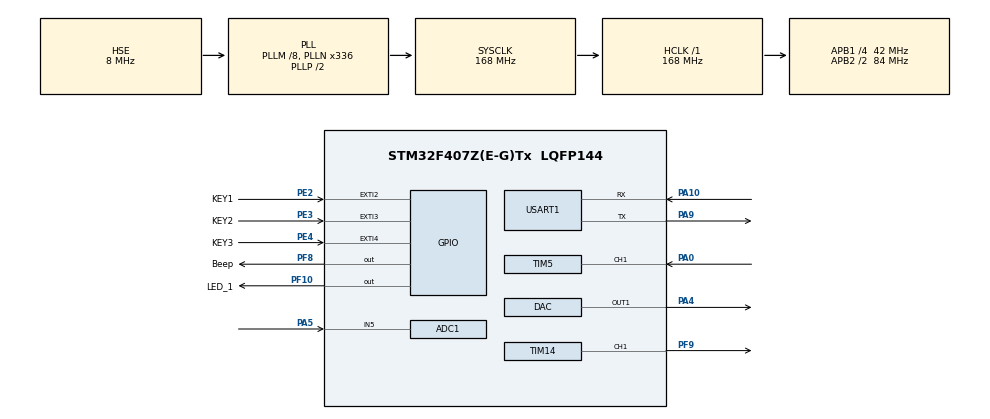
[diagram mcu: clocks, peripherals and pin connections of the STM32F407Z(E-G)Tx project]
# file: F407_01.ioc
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ADC1.Channel-0\#ChannelRegularConversion=ADC_CHANNEL_5
ADC1.ContinuousConvMode=DISABLE
ADC1.DMAContinuousRequests=ENABLE
ADC1.ExternalTrigConv=ADC_EXTERNALTRIGCONV_T3_TRGO
ADC1.NbrOfConversionFlag=1
ADC1.Rank-0\#ChannelRegularConversion=1
ADC1.SamplingTime-0\#ChannelRegularConversion=ADC_SAMPLETIME_480CYCLES
ADC1.master=1
DAC.DAC_Trigger=DAC_TRIGGER_T7_TRGO
Dma.ADC1.0.Direction=DMA_PERIPH_TO_MEMORY
Dma.ADC1.0.FIFOMode=DMA_FIFOMODE_DISABLE
Dma.ADC1.0.Instance=DMA2_Stream0
Dma.ADC1.0.MemDataAlignment=DMA_MDATAALIGN_HALFWORD
Dma.ADC1.0.MemInc=DMA_MINC_ENABLE
Dma.ADC1.0.Mode=DMA_CIRCULAR
Dma.ADC1.0.PeriphDataAlignment=DMA_PDATAALIGN_HALFWORD
Dma.ADC1.0.PeriphInc=DMA_PINC_DISABLE
Dma.ADC1.0.Priority=DMA_PRIORITY_LOW
Dma.DAC1.1.Direction=DMA_MEMORY_TO_PERIPH
Dma.DAC1.1.FIFOMode=DMA_FIFOMODE_DISABLE
Dma.DAC1.1.Instance=DMA1_Stream5
Dma.DAC1.1.MemDataAlignment=DMA_MDATAALIGN_HALFWORD
Dma.DAC1.1.MemInc=DMA_MINC_ENABLE
Dma.DAC1.1.Mode=DMA_CIRCULAR
Dma.DAC1.1.PeriphDataAlignment=DMA_PDATAALIGN_HALFWORD
Dma.DAC1.1.PeriphInc=DMA_PINC_DISABLE
Dma.DAC1.1.Priority=DMA_PRIORITY_LOW
Dma.Request0=ADC1
Dma.Request1=DAC1
Mcu.Family=STM32F4
Mcu.Name=STM32F407Z(E-G)Tx
Mcu.Package=LQFP144
NVIC.DMA1_Stream5_IRQn=true\:2\:0\:true\:false\:true\:false\:true\:true
NVIC.DMA2_Stream0_IRQn=true\:2\:0\:true\:false\:true\:false\:true\:true
NVIC.PriorityGroup=NVIC_PRIORITYGROUP_4
NVIC.TIM5_IRQn=true\:3\:0\:true\:false\:true\:true\:true\:true
NVIC.USART1_IRQn=true\:2\:0\:true\:false\:true\:true\:true\:true
PA0-WKUP.Signal=S_TIM5_CH1
PA10.Mode=Asynchronous
PA10.Signal=USART1_RX
PA13.Mode=Serial_Wire
PA13.Signal=SYS_JTMS-SWDIO
PA14.Mode=Serial_Wire
PA14.Signal=SYS_JTCK-SWCLK
PA4.Signal=COMP_DAC1_group
PA5.Signal=ADCx_IN5
PA9.Mode=Asynchronous
PA9.Signal=USART1_TX
PC14-OSC32_IN.Mode=LSE-External-Oscillator
PC14-OSC32_IN.Signal=RCC_OSC32_IN
PC15-OSC32_OUT.Mode=LSE-External-Oscillator
PC15-OSC32_OUT.Signal=RCC_OSC32_OUT
PE2.GPIO_Label=KEY1
PE2.Signal=GPXTI2
PE3.GPIO_Label=KEY2
PE3.Signal=GPXTI3
PE4.GPIO_Label=KEY3
PE4.Signal=GPXTI4
PF10.GPIO_Label=LED_1
PF10.GPIO_PuPd=GPIO_PULLUP
PF10.PinState=GPIO_PIN_SET
PF10.Signal=GPIO_Output
PF8.GPIO_Label=Beep
PF8.Signal=GPIO_Output
PF9.Signal=S_TIM14_CH1
PH0-OSC_IN.Mode=HSE-External-Oscillator
PH0-OSC_IN.Signal=RCC_OSC_IN
PH1-OSC_OUT.Mode=HSE-External-Oscillator
PH1-OSC_OUT.Signal=RCC_OSC_OUT
ProjectManager.HeapSize=0x200
ProjectManager.StackSize=0x400
ProjectManager.TargetToolchain=MDK-ARM V5.32
RCC.48MHZClocksFreq_Value=84000000
RCC.AHBFreq_Value=168000000
RCC.APB1CLKDivider=RCC_HCLK_DIV4
RCC.APB1Freq_Value=42000000
RCC.APB1TimFreq_Value=84000000
RCC.APB2CLKDivider=RCC_HCLK_DIV2
RCC.APB2Freq_Value=84000000
RCC.APB2TimFreq_Value=168000000
RCC.CortexFreq_Value=168000000
RCC.HCLKFreq_Value=168000000
RCC.HSE_VALUE=8000000
RCC.HSI_VALUE=16000000
RCC.PLLM=8
RCC.PLLN=336
RCC.PLLSourceVirtual=RCC_PLLSOURCE_HSE
RCC.SYSCLKFreq_VALUE=168000000
RCC.SYSCLKSource=RCC_SYSCLKSOURCE_PLLCLK
RCC.VCOOutputFreq_Value=336000000
SH.ADCx_IN5.0=ADC1_IN5,IN5
SH.COMP_DAC1_group.0=DAC_OUT1,DAC_OUT1
SH.S_TIM14_CH1.0=TIM14_CH1,PWM Generation1 CH1
SH.S_TIM5_CH1.0=TIM5_CH1,Input_Capture1_from_TI1
TIM14.Channel=TIM_CHANNEL_1
TIM14.Period=500-1
TIM14.Prescaler=83
TIM3.Period=9
TIM3.Prescaler=83
TIM3.TIM_MasterOutputTrigger=TIM_TRGO_UPDATE
TIM3.TIM_MasterSlaveMode=TIM_MASTERSLAVEMODE_ENABLE
TIM5.Channel-Input_Capture1_from_TI1=TIM_CHANNEL_1
TIM7.Period=9
TIM7.Prescaler=83
TIM7.TIM_MasterOutputTrigger=TIM_TRGO_UPDATE
USART1.VirtualMode=VM_ASYNC
VP_TIM14_VS_ClockSourceINT.Mode=Enable_Timer
VP_TIM3_VS_ClockSourceINT.Mode=Internal
VP_TIM5_VS_ClockSourceINT.Mode=Internal
VP_TIM7_VS_ClockSourceINT.Mode=Enable_Timer
board=custom

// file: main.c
/* USER CODE BEGIN Header */
/**
  ******************************************************************************
  * @file           : main.c
  * @brief          : Main program body
  ******************************************************************************
  * @attention
  *
  * Copyright (c) 2026 STMicroelectronics.
  * All rights reserved.
  *
  * This software is licensed under terms that can be found in the LICENSE file
  * in the root directory of this software component.
  * If no LICENSE file comes with this software, it is provided AS-IS.
  *
  ******************************************************************************
  */
/* USER CODE END Header */
#include "main.h"
#include "adc.h"
#include "dac.h"
#include "dma.h"
#include "tim.h"
#include "usart.h"
#include "gpio.h"

/* USER CODE BEGIN Includes */
#include "stdio.h"
#include "LCD/lcd.h"
#include "LCD/bmp.h"
#include "math.h"

#include "arm_math.h"//fft相关文件
#include "arm_const_structs.h"
void delay_init(uint8_t SYSCLK);
#define LCD_W      320    // 屏幕宽度
#define LCD_H      240    // 屏幕高度
#define FFT_LEN    1024   // FFT点数
#define SHOW_POINT 256    // 屏幕显示256个频谱点（不卡顿）
/* USER CODE END Includes */

void SystemClock_Config(void);

/* USER CODE BEGIN 0 */
uint8_t capture_Buf[2];
uint8_t adc_complete_flag = 0;
float adc_value = 0;
uint8_t capture_Flag = 0;
uint32_t high_level_time = 0;
 uint8_t RxBuffer[1];

#define FFT_LENGTH 1024

__IO uint8_t AdcConvEnd = 0;
uint16_t adcBuff[FFT_LENGTH];

float fft_inputbuf[FFT_LENGTH * 2];
float fft_outputbuf[FFT_LENGTH];

void LCD_Show_FFT(float *fft_data);
void LCD_Show_ADC_Wave(uint16_t *adc_data);

void zhang_tim5(void);
void zhang_pwm_control(void);
uint16_t signalSinBuffer[100];
uint16_t signalSquareBuffer[100];
uint16_t signalRampBuffer[100];

// 正弦波信号缓存填充
void signalSin ()
{
    for (int i=0; i<100; i++)
    {
        signalSinBuffer[i] = ((sin(i*2*PI/100) + 1)*(4096/2));
     //   printf(" signalSinBuffer==%d",signalSinBuffer[i]);
    }
}
/* USER CODE END 0 */

int main(void)
{

  /* MCU Configuration--------------------------------------------------------*/

  /* Reset of all peripherals, Initializes the Flash interface and the Systick. */
  HAL_Init();

  /* Configure the system clock */
  SystemClock_Config();

  /* USER CODE BEGIN SysInit */
   delay_init(168);
  /* USER CODE END SysInit */

  /* Initialize all configured peripherals */
  MX_GPIO_Init();
  MX_DMA_Init();
  MX_TIM14_Init();
  MX_TIM5_Init();
  MX_USART1_UART_Init();
  MX_ADC1_Init();
  MX_TIM3_Init();
  MX_DAC_Init();
  MX_TIM7_Init();
  /* USER CODE BEGIN 2 */
  HAL_TIM_PWM_Start(&htim14, TIM_CHANNEL_1);//led0����
  HAL_UART_Receive_IT(&huart1,RxBuffer,1);
  HAL_TIM_IC_Start_IT(&htim5, TIM_CHANNEL_1);

  __HAL_TIM_SET_AUTORELOAD(&htim3, 99);
  HAL_TIM_Base_Start(&htim3);
  HAL_ADC_Start_DMA(&hadc1,(uint32_t*)adcBuff,FFT_LENGTH);

  __HAL_TIM_SET_AUTORELOAD(&htim7, 199);
  HAL_TIM_Base_Start(&htim7);
  signalSin();
  HAL_DAC_Start_DMA(&hdac,DAC_CHANNEL_1,(uint32_t*)signalSinBuffer,100,DAC_ALIGN_12B_R);

 // HAL_DAC_SetValue(&hdac,DAC_CHANNEL_1,DAC_ALIGN_12B_R,1.8/(3.3/4096));

//
    lcd_init();                             /* 初始化LCD */
    g_point_color = RED;
    lcd_clear(WHITE);
      lcd_show_string(10, 80, 240, 24, 24, "TFTLCD TEST", RED);
      HAL_Delay(500);
     //  show_picture(0,0,360,360,(uint16_t*)gImage_rf);
  /* USER CODE END 2 */

  /* Infinite loop */
  /* USER CODE BEGIN WHILE */
   printf("-------1----------------");
      printf("-------2----------------");
         HAL_GPIO_WritePin(GPIOF, GPIO_PIN_10,GPIO_PIN_RESET);

  while (1)
  {

    // 直接操作寄存器或 HAL 库，每秒翻转一次

//  HAL_Delay(500);

 //  zhang_pwm_control();//pwm呼吸灯
  //  HAL_Delay(5);
    if (capture_Flag == 2)
    {
        printf("PA0 High Level Time: %u us\r\n", high_level_time);

        capture_Flag = 0;

        HAL_Delay(100);
    }
   if(adc_complete_flag == 1)
    {

       for (int i = 0; i < FFT_LENGTH; i++)
{
    fft_inputbuf[i * 2] = adcBuff[i] * 3.3 / 4096;//实部赋值，* 3.3 / 4096是为了将ADC采集到的值转换成实际电压
    fft_inputbuf[i * 2 + 1] = 0;//虚部赋值，固定为0.
}

arm_cfft_f32(&arm_cfft_sR_f32_len1024, fft_inputbuf, 0, 1);
arm_cmplx_mag_f32(fft_inputbuf, fft_outputbuf, FFT_LENGTH);
fft_outputbuf[0] /= 1024;

for (int i = 1; i < FFT_LENGTH; i++)//输出各次谐波幅值
{
    fft_outputbuf[i] /= 512;
}

LCD_Show_FFT(fft_outputbuf);
LCD_Show_ADC_Wave(adcBuff);
printf("FFT Result:\r\n");

for (int i = 0; i < FFT_LENGTH; i++)//输出各次谐波幅值
{
	printf("%d:\t%.2f\r\n", i, fft_outputbuf[i]);
}

     printf("d");
       adc_complete_flag=0;

    }

    /* USER CODE END WHILE */

  }
}

void SystemClock_Config(void)
{
  RCC_OscInitTypeDef RCC_OscInitStruct = {0};
  RCC_ClkInitTypeDef RCC_ClkInitStruct = {0};

  /** Configure the main internal regulator output voltage
  */
  __HAL_RCC_PWR_CLK_ENABLE();
  __HAL_PWR_VOLTAGESCALING_CONFIG(PWR_REGULATOR_VOLTAGE_SCALE1);

  /** Initializes the RCC Oscillators according to the specified parameters
  * in the RCC_OscInitTypeDef structure.
  */
  RCC_OscInitStruct.OscillatorType = RCC_OSCILLATORTYPE_HSE;
  RCC_OscInitStruct.HSEState = RCC_HSE_ON;
  RCC_OscInitStruct.PLL.PLLState = RCC_PLL_ON;
  RCC_OscInitStruct.PLL.PLLSource = RCC_PLLSOURCE_HSE;
  RCC_OscInitStruct.PLL.PLLM = 8;
  RCC_OscInitStruct.PLL.PLLN = 336;
  RCC_OscInitStruct.PLL.PLLP = RCC_PLLP_DIV2;
  RCC_OscInitStruct.PLL.PLLQ = 4;
  if (HAL_RCC_OscConfig(&RCC_OscInitStruct) != HAL_OK)
  {
    Error_Handler();
  }

  /** Initializes the CPU, AHB and APB buses clocks
  */
  RCC_ClkInitStruct.ClockType = RCC_CLOCKTYPE_HCLK|RCC_CLOCKTYPE_SYSCLK
                              |RCC_CLOCKTYPE_PCLK1|RCC_CLOCKTYPE_PCLK2;
  RCC_ClkInitStruct.SYSCLKSource = RCC_SYSCLKSOURCE_PLLCLK;
  RCC_ClkInitStruct.AHBCLKDivider = RCC_SYSCLK_DIV1;
  RCC_ClkInitStruct.APB1CLKDivider = RCC_HCLK_DIV4;
  RCC_ClkInitStruct.APB2CLKDivider = RCC_HCLK_DIV2;

  if (HAL_RCC_ClockConfig(&RCC_ClkInitStruct, FLASH_LATENCY_5) != HAL_OK)
  {
    Error_Handler();
  }
}

/* USER CODE BEGIN 4 */

void HAL_DAC_ConvCpltCallback(DAC_HandleTypeDef *hdac)
{

    printf("-------3----------------");
       HAL_GPIO_WritePin(GPIOF, GPIO_PIN_10,GPIO_PIN_RESET);  // 随便找个LED翻转

}
void LCD_Show_FFT(float *fft_data)
{
    uint16_t i;
    uint16_t x, y;

    float max_amp = 0.5f;

    lcd_clear(WHITE);

    // 画坐标轴
    lcd_draw_line(0, LCD_H-1, LCD_W-1, LCD_H-1, BLACK);
    lcd_draw_line(0, 0, 0, LCD_H-1, BLACK);

    for(i=0; i<320; i++)
    {
        x = i;

        y = 220 - (uint16_t)((fft_data[i] / max_amp) * 200);

        // 限制范围，防止溢出
        if(y > 220) y = 220;
        if(y < 20)  y = 20;

        // 画红色柱子
        lcd_draw_line(x, 220, x, y, RED);
    }
}
void LCD_Show_ADC_Wave(uint16_t *adc_data)
{
    uint16_t i, y1, y2;
    // 绘制ADC原始波形（蓝色）
    for(i=0; i<255; i++)  // 只画255点，适配屏幕宽度
    {
        y1 = 500 - (adc_data[i] * 200 / 4095);
        y2 = 500 - (adc_data[i+1] * 200 / 4095);
        lcd_draw_line(i, y1, i+1, y2, BLUE);

    } HAL_Delay(100);
}

/* USER CODE END 4 */

void Error_Handler(void)
{
  /* USER CODE BEGIN Error_Handler_Debug */
  /* User can add his own implementation to report the HAL error return state */
  __disable_irq();
  while (1)
  {HAL_GPIO_WritePin(LED_1_GPIO_Port, LED_1_Pin, GPIO_PIN_SET); // 点亮 LED

  }
  /* USER CODE END Error_Handler_Debug */
}
